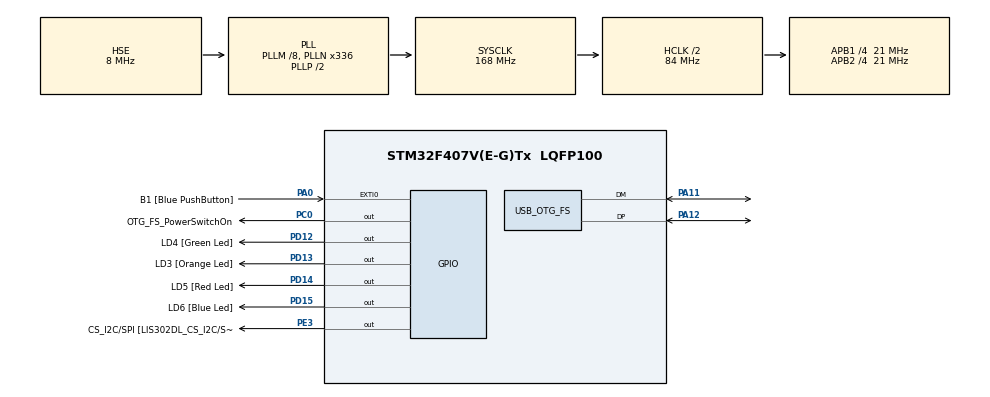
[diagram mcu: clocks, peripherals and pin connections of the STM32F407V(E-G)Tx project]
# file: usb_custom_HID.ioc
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Mcu.Family=STM32F4
Mcu.Name=STM32F407V(E-G)Tx
Mcu.Package=LQFP100
NVIC.OTG_FS_IRQn=true\:0\:0\:false\:false\:true\:true\:true
NVIC.PriorityGroup=NVIC_PRIORITYGROUP_0
NVIC.TIM6_DAC_IRQn=true\:0\:0\:false\:false\:true\:true\:true
PA0-WKUP.GPIO_Label=B1 [Blue PushButton]
PA0-WKUP.GPIO_ModeDefaultEXTI=GPIO_MODE_EVT_RISING
PA0-WKUP.GPIO_PuPd=GPIO_NOPULL
PA0-WKUP.Signal=GPXTI0
PA11.Mode=Device_Only
PA11.Signal=USB_OTG_FS_DM
PA12.Mode=Device_Only
PA12.Signal=USB_OTG_FS_DP
PB10.GPIO_Label=CLK_IN [MP45DT02_CLK]
PB10.GPIO_Mode=GPIO_MODE_AF_PP
PB10.GPIO_PuPd=GPIO_NOPULL
PB10.GPIO_Speed=GPIO_SPEED_FREQ_LOW
PB10.Signal=I2S2_CK
PC0.GPIO_Label=OTG_FS_PowerSwitchOn
PC0.GPIO_PuPd=GPIO_NOPULL
PC0.GPIO_Speed=GPIO_SPEED_FREQ_LOW
PC0.PinState=GPIO_PIN_SET
PC0.Signal=GPIO_Output
PC14-OSC32_IN.GPIO_Label=PC14-OSC32_IN
PC14-OSC32_IN.Mode=LSE-External-Oscillator
PC14-OSC32_IN.Signal=RCC_OSC32_IN
PC15-OSC32_OUT.GPIO_Label=PC15-OSC32_OUT
PC15-OSC32_OUT.Mode=LSE-External-Oscillator
PC15-OSC32_OUT.Signal=RCC_OSC32_OUT
PC3.GPIO_Label=PDM_OUT [MP45DT02_DOUT]
PC3.GPIO_Mode=GPIO_MODE_AF_PP
PC3.GPIO_PuPd=GPIO_NOPULL
PC3.GPIO_Speed=GPIO_SPEED_FREQ_LOW
PC3.Signal=I2S2_SD
PD12.GPIO_Label=LD4 [Green Led]
PD12.GPIO_PuPd=GPIO_NOPULL
PD12.GPIO_Speed=GPIO_SPEED_FREQ_LOW
PD12.Signal=GPIO_Output
PD13.GPIO_Label=LD3 [Orange Led]
PD13.GPIO_PuPd=GPIO_NOPULL
PD13.GPIO_Speed=GPIO_SPEED_FREQ_LOW
PD13.Signal=GPIO_Output
PD14.GPIO_Label=LD5 [Red Led]
PD14.GPIO_PuPd=GPIO_NOPULL
PD14.GPIO_Speed=GPIO_SPEED_FREQ_LOW
PD14.Signal=GPIO_Output
PD15.GPIO_Label=LD6 [Blue Led]
PD15.GPIO_PuPd=GPIO_NOPULL
PD15.GPIO_Speed=GPIO_SPEED_FREQ_LOW
PD15.Signal=GPIO_Output
PE3.GPIO_Label=CS_I2C/SPI [LIS302DL_CS_I2C/SPI]
PE3.GPIO_PuPd=GPIO_NOPULL
PE3.GPIO_Speed=GPIO_SPEED_FREQ_LOW
PE3.Signal=GPIO_Output
PH0-OSC_IN.GPIO_Label=PH0-OSC_IN
PH0-OSC_IN.Mode=HSE-External-Oscillator
PH0-OSC_IN.Signal=RCC_OSC_IN
PH1-OSC_OUT.GPIO_Label=PH1-OSC_OUT
PH1-OSC_OUT.Mode=HSE-External-Oscillator
PH1-OSC_OUT.Signal=RCC_OSC_OUT
ProjectManager.HeapSize=0x200
ProjectManager.StackSize=0x400
ProjectManager.TargetToolchain=STM32CubeIDE
RCC.48MHZClocksFreq_Value=48000000
RCC.AHBCLKDivider=RCC_SYSCLK_DIV2
RCC.AHBFreq_Value=84000000
RCC.APB1CLKDivider=RCC_HCLK_DIV4
RCC.APB1Freq_Value=21000000
RCC.APB1TimFreq_Value=42000000
RCC.APB2CLKDivider=RCC_HCLK_DIV4
RCC.APB2Freq_Value=21000000
RCC.APB2TimFreq_Value=42000000
RCC.CortexFreq_Value=84000000
RCC.HCLKFreq_Value=84000000
RCC.HSE_VALUE=8000000
RCC.HSI_VALUE=16000000
RCC.PLLM=8
RCC.PLLN=336
RCC.PLLQ=7
RCC.SYSCLKFreq_VALUE=168000000
RCC.SYSCLKSource=RCC_SYSCLKSOURCE_PLLCLK
RCC.VCOOutputFreq_Value=336000000
TIM6.Period=1000
TIM6.Prescaler=20999
TIM6.TIM_MasterOutputTrigger=TIM_TRGO_UPDATE
USB_DEVICE.CLASS_NAME_FS=CUSTOM_HID
USB_DEVICE.USBD_CUSTOMHID_OUTREPORT_BUF_SIZE-CUSTOM_HID_FS=64
USB_DEVICE.USBD_CUSTOM_HID_REPORT_DESC_SIZE-CUSTOM_HID_FS=46
USB_DEVICE.VirtualMode-CUSTOM_HID_FS=CustomHid
USB_DEVICE.VirtualModeFS=Custom_Hid_FS
USB_OTG_FS.VirtualMode=Device_Only
VP_TIM6_VS_ClockSourceINT.Mode=Enable_Timer
VP_USB_DEVICE_VS_USB_DEVICE_CUSTOM_HID_FS.Mode=CUSTOM_HID_FS
board=STM32F407G-DISC1

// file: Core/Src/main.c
/* USER CODE BEGIN Header */
/**
  ******************************************************************************
  * @file           : main.c
  * @brief          : Main program body
  ******************************************************************************
  * @attention
  *
  * <h2><center>&copy; Copyright (c) 2020 STMicroelectronics.
  * All rights reserved.</center></h2>
  *
  * This software component is licensed by ST under Ultimate Liberty license
  * SLA0044, the "License"; You may not use this file except in compliance with
  * the License. You may obtain a copy of the License at:
  *                             www.st.com/SLA0044
  *
  ******************************************************************************
  */
/* в файле usbd_custom_hid_if.c ввести корректное значение для дескриптора репорта устройства
 * в файле usbd_customhid.h изменить значения параметров CUSTOM_HID_EPOUT_SIZE и CUSTOM_HID_EPIN_SIZE (значение не допускается ставить выше 64 байт (0x40))
 * в файле usbd_conf.h изменить значения: USBD_CUSTOMHID_OUTREPORT_BUF_SIZE = 65 (размер входных и выходных репортов CUSTOM_HID_хххх_SIZE (64) + ID репорта (1 байт)),
 * USBD_CUSTOM_HID_REPORT_DESC_SIZE = 37 (размер дескриптора репорта)
 * */
/* USER CODE END Header */

#include "main.h"
#include "usb_device.h"

/* USER CODE BEGIN Includes */
#include "main.h"
#include "usbd_customhid.h"
/* USER CODE END Includes */

TIM_HandleTypeDef htim6;

/* USER CODE BEGIN PV */
extern USBD_HandleTypeDef  hUsbDeviceFS; //структура usb
uint8_t dataToSend [5]; //буфер для передачи данных
uint8_t count = 0;
/* USER CODE END PV */

void SystemClock_Config(void);
static void MX_GPIO_Init(void);
static void MX_TIM6_Init(void);

int main(void)
{

  /* MCU Configuration--------------------------------------------------------*/

  /* Reset of all peripherals, Initializes the Flash interface and the Systick. */
  HAL_Init();

  /* Configure the system clock */
  SystemClock_Config();

  /* Initialize all configured peripherals */
  MX_GPIO_Init();
  MX_USB_DEVICE_Init();
  MX_TIM6_Init();
  /* USER CODE BEGIN 2 */
  HAL_TIM_Base_Start_IT(&htim6); //разрешим прерывания по обновления таймера 6
  /* USER CODE END 2 */

  /* Infinite loop */
  while (1)
  {

  }
}

void SystemClock_Config(void)
{
  RCC_OscInitTypeDef RCC_OscInitStruct = {0};
  RCC_ClkInitTypeDef RCC_ClkInitStruct = {0};

  /** Configure the main internal regulator output voltage
  */
  __HAL_RCC_PWR_CLK_ENABLE();
  __HAL_PWR_VOLTAGESCALING_CONFIG(PWR_REGULATOR_VOLTAGE_SCALE1);
  /** Initializes the CPU, AHB and APB busses clocks
  */
  RCC_OscInitStruct.OscillatorType = RCC_OSCILLATORTYPE_HSE;
  RCC_OscInitStruct.HSEState = RCC_HSE_ON;
  RCC_OscInitStruct.PLL.PLLState = RCC_PLL_ON;
  RCC_OscInitStruct.PLL.PLLSource = RCC_PLLSOURCE_HSE;
  RCC_OscInitStruct.PLL.PLLM = 8;
  RCC_OscInitStruct.PLL.PLLN = 336;
  RCC_OscInitStruct.PLL.PLLP = RCC_PLLP_DIV2;
  RCC_OscInitStruct.PLL.PLLQ = 7;
  if (HAL_RCC_OscConfig(&RCC_OscInitStruct) != HAL_OK)
  {
    Error_Handler();
  }
  /** Initializes the CPU, AHB and APB busses clocks
  */
  RCC_ClkInitStruct.ClockType = RCC_CLOCKTYPE_HCLK|RCC_CLOCKTYPE_SYSCLK
                              |RCC_CLOCKTYPE_PCLK1|RCC_CLOCKTYPE_PCLK2;
  RCC_ClkInitStruct.SYSCLKSource = RCC_SYSCLKSOURCE_PLLCLK;
  RCC_ClkInitStruct.AHBCLKDivider = RCC_SYSCLK_DIV2;
  RCC_ClkInitStruct.APB1CLKDivider = RCC_HCLK_DIV4;
  RCC_ClkInitStruct.APB2CLKDivider = RCC_HCLK_DIV4;

  if (HAL_RCC_ClockConfig(&RCC_ClkInitStruct, FLASH_LATENCY_2) != HAL_OK)
  {
    Error_Handler();
  }
}

static void MX_TIM6_Init(void)
{

  TIM_MasterConfigTypeDef sMasterConfig = {0};

  htim6.Instance = TIM6;
  htim6.Init.Prescaler = 20999;
  htim6.Init.CounterMode = TIM_COUNTERMODE_UP;
  htim6.Init.Period = 1000;
  htim6.Init.AutoReloadPreload = TIM_AUTORELOAD_PRELOAD_DISABLE;
  if (HAL_TIM_Base_Init(&htim6) != HAL_OK)
  {
    Error_Handler();
  }
  sMasterConfig.MasterOutputTrigger = TIM_TRGO_UPDATE;
  sMasterConfig.MasterSlaveMode = TIM_MASTERSLAVEMODE_DISABLE;
  if (HAL_TIMEx_MasterConfigSynchronization(&htim6, &sMasterConfig) != HAL_OK)
  {
    Error_Handler();
  }

}

static void MX_GPIO_Init(void)
{
  GPIO_InitTypeDef GPIO_InitStruct = {0};

  /* GPIO Ports Clock Enable */
  __HAL_RCC_GPIOE_CLK_ENABLE();
  __HAL_RCC_GPIOC_CLK_ENABLE();
  __HAL_RCC_GPIOH_CLK_ENABLE();
  __HAL_RCC_GPIOA_CLK_ENABLE();
  __HAL_RCC_GPIOB_CLK_ENABLE();
  __HAL_RCC_GPIOD_CLK_ENABLE();

  /*Configure GPIO pin Output Level */
  HAL_GPIO_WritePin(CS_I2C_SPI_GPIO_Port, CS_I2C_SPI_Pin, GPIO_PIN_RESET);

  /*Configure GPIO pin Output Level */
  HAL_GPIO_WritePin(OTG_FS_PowerSwitchOn_GPIO_Port, OTG_FS_PowerSwitchOn_Pin, GPIO_PIN_SET);

  /*Configure GPIO pin Output Level */
  HAL_GPIO_WritePin(GPIOD, LD4_Pin|LD3_Pin|LD5_Pin|LD6_Pin, GPIO_PIN_RESET);

  /*Configure GPIO pin : CS_I2C_SPI_Pin */
  GPIO_InitStruct.Pin = CS_I2C_SPI_Pin;
  GPIO_InitStruct.Mode = GPIO_MODE_OUTPUT_PP;
  GPIO_InitStruct.Pull = GPIO_NOPULL;
  GPIO_InitStruct.Speed = GPIO_SPEED_FREQ_LOW;
  HAL_GPIO_Init(CS_I2C_SPI_GPIO_Port, &GPIO_InitStruct);

  /*Configure GPIO pin : OTG_FS_PowerSwitchOn_Pin */
  GPIO_InitStruct.Pin = OTG_FS_PowerSwitchOn_Pin;
  GPIO_InitStruct.Mode = GPIO_MODE_OUTPUT_PP;
  GPIO_InitStruct.Pull = GPIO_NOPULL;
  GPIO_InitStruct.Speed = GPIO_SPEED_FREQ_LOW;
  HAL_GPIO_Init(OTG_FS_PowerSwitchOn_GPIO_Port, &GPIO_InitStruct);

  /*Configure GPIO pin : PDM_OUT_Pin */
  GPIO_InitStruct.Pin = PDM_OUT_Pin;
  GPIO_InitStruct.Mode = GPIO_MODE_AF_PP;
  GPIO_InitStruct.Pull = GPIO_NOPULL;
  GPIO_InitStruct.Speed = GPIO_SPEED_FREQ_LOW;
  GPIO_InitStruct.Alternate = GPIO_AF5_SPI2;
  HAL_GPIO_Init(PDM_OUT_GPIO_Port, &GPIO_InitStruct);

  /*Configure GPIO pin : B1_Pin */
  GPIO_InitStruct.Pin = B1_Pin;
  GPIO_InitStruct.Mode = GPIO_MODE_EVT_RISING;
  GPIO_InitStruct.Pull = GPIO_NOPULL;
  HAL_GPIO_Init(B1_GPIO_Port, &GPIO_InitStruct);

  /*Configure GPIO pin : CLK_IN_Pin */
  GPIO_InitStruct.Pin = CLK_IN_Pin;
  GPIO_InitStruct.Mode = GPIO_MODE_AF_PP;
  GPIO_InitStruct.Pull = GPIO_NOPULL;
  GPIO_InitStruct.Speed = GPIO_SPEED_FREQ_LOW;
  GPIO_InitStruct.Alternate = GPIO_AF5_SPI2;
  HAL_GPIO_Init(CLK_IN_GPIO_Port, &GPIO_InitStruct);

  /*Configure GPIO pins : LD4_Pin LD3_Pin LD5_Pin LD6_Pin */
  GPIO_InitStruct.Pin = LD4_Pin|LD3_Pin|LD5_Pin|LD6_Pin;
  GPIO_InitStruct.Mode = GPIO_MODE_OUTPUT_PP;
  GPIO_InitStruct.Pull = GPIO_NOPULL;
  GPIO_InitStruct.Speed = GPIO_SPEED_FREQ_LOW;
  HAL_GPIO_Init(GPIOD, &GPIO_InitStruct);

}

/* USER CODE BEGIN 4 */
void HAL_TIM_PeriodElapsedCallback (TIM_HandleTypeDef *htim6) //ф-я обработки прерывания таймера

{
       if(count==0)        {dataToSend[0] = 5;dataToSend[1] = 1;} //адресуем на адрес 0х5h, 1 - зажечь светодиод
       else
    	   if(count==1)        {dataToSend[0] = 5;dataToSend[1] = 0;} //адресуем на адрес 0х5h, 0 - погасить светодиод
       else
    	   if(count==2)        {dataToSend[0] = 6;dataToSend[1] = 1;}
       else
    	   if(count==3)        {dataToSend[0] = 6;dataToSend[1] = 0;}
       dataToSend[2] = 'H';
       dataToSend[3] = 'I';
       dataToSend[4] = 'D';
       dataToSend[5] = '!';
 USBD_CUSTOM_HID_SendReport(&hUsbDeviceFS, dataToSend, 6);
 count++;
     if(count>3)
    	 count=0;
}
/* USER CODE END 4 */

void Error_Handler(void)
{
}

/************************ (C) COPYRIGHT STMicroelectronics *****END OF FILE****/
